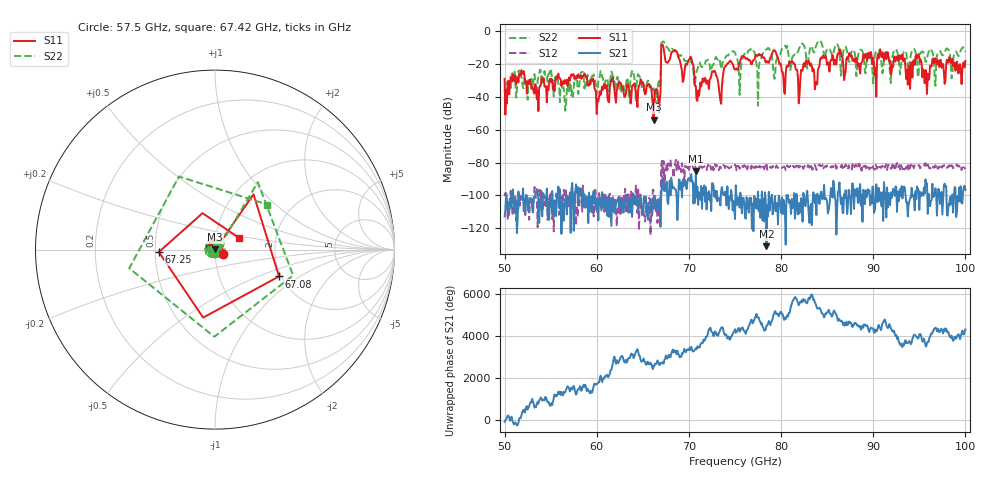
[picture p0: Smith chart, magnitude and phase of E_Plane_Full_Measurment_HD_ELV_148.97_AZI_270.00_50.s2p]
! 11/26/2026 3:41:58 PM
! C:\ANRITSUVNA\TEMP\TEMP.S2P
! CHANNEL.1
! TR.MEASUREMENT
! RAW.DATA
# HZ S RI R 50.0
! FREQ.HZ  S11RE  S11IM  S21RE  S21IM  S12RE  S12IM  S22RE  S22IM
!; PortSelection: Port_12
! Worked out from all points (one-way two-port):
!   601 points, 50 GHz to 100 GHz, reference 50 ohm
!   highest |S21| = -85.40 dB at 70.75 GHz (marker M1); lowest = -131.0 dB at 78.42 GHz (marker M2)
!   lowest |S11| = -53.8 dB at 66.17 GHz (marker M3), VSWR 1.00, Z = 50.1 + j0.147 ohm
!   |S11| at or under -10 dB: start of sweep to 67 GHz; 67.25 GHz to end of sweep
!   |S22| runs from -48.4 to -5.6 dB; largest |S21 - S12| = 0.00013
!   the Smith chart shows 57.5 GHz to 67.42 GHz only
!   S11 on the Smith chart (normalised r, x): 57.5 GHz: 1.09, -0.05; 67.08 GHz: 1.95, -0.69; 67.25 GHz: 0.52, -0.02; 67.42 GHz: 1.29, +0.18
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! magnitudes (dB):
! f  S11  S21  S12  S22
! 50 GHz  -28.9  -112.9  -100.5  -35.6
! 57.5 GHz  -26.1  -121.7  -105.1  -34.6
! 58.42 GHz  -27.1  -105.3  -110.0  -24.8
! 60.17 GHz  -42.7  -115.3  -101.9  -30.4
! 66.17 GHz  -53.8  -106.0  -96.8  -34.0
! 66.67 GHz  -41.5  -102.5  -110.7  -31.6
! 67.08 GHz  -8.3  -90.1  -78.8  -6.8
! 67.25 GHz  -10.1  -92.5  -79.1  -6.2
! 67.42 GHz  -16.6  -97.2  -87.1  -8.3
! 70.17 GHz  -15.5  -91.3  -81.6  -18.5
! 70.75 GHz  -33.4  -85.4  -84.3  -25.7
! 75 GHz  -23.3  -114.4  -81.3  -12.9
! 77.58 GHz  -13.8  -109.6  -82.7  -21.9
! 78.42 GHz  -18.3  -131.0  -81.2  -11.0
! 79.33 GHz  -11.8  -100.5  -82.7  -28.8
! 80.25 GHz  -27.8  -102.6  -82.6  -9.3
! 83.42 GHz  -24.4  -104.3  -84.3  -10.8
! 91.67 GHz  -16.6  -98.5  -81.4  -15.2
! 93.75 GHz  -32.6  -112.9  -80.9  -21.3
! 94.83 GHz  -15.1  -95.9  -82.1  -27.9
! 95.83 GHz  -38.2  -92.7  -82.5  -16.4
! 100 GHz  -18.0  -96.8  -83.9  -12.5
